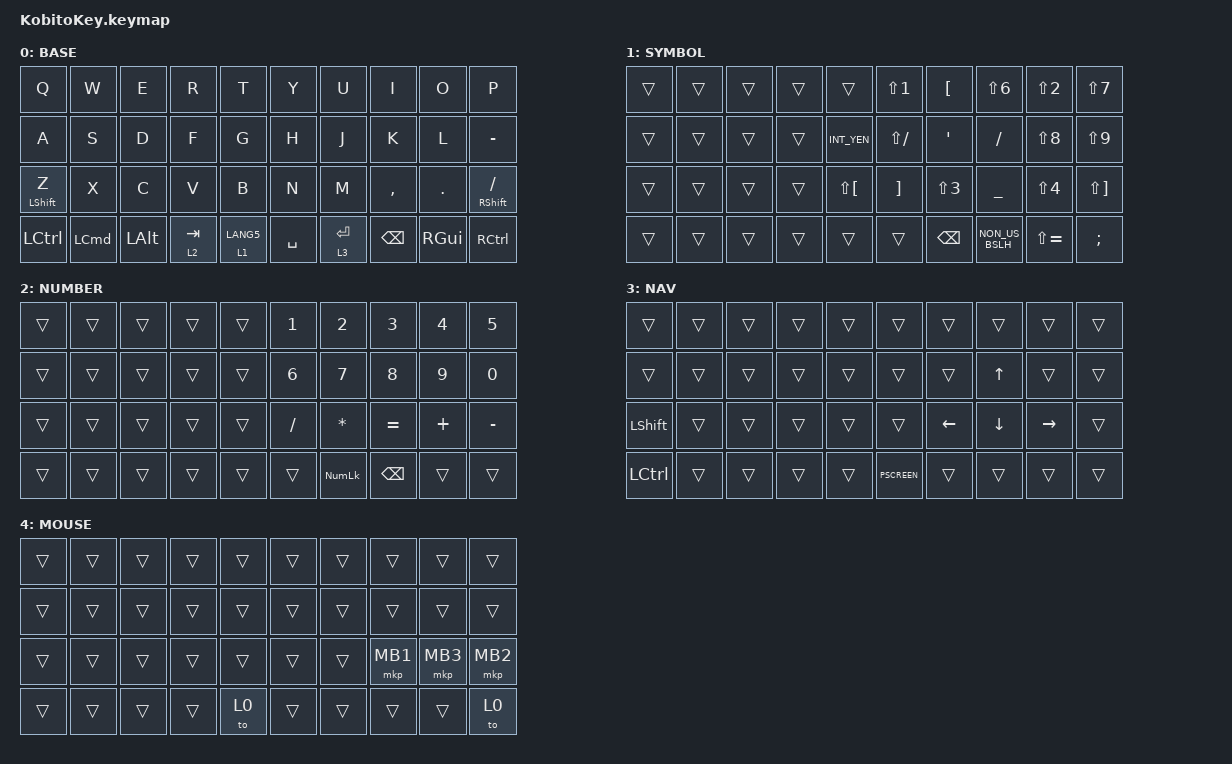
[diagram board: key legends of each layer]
#include <input/processors.dtsi>
#include <behaviors.dtsi>
#include <dt-bindings/zmk/bt.h>
#include <dt-bindings/zmk/keys.h>
#include <dt-bindings/zmk/pointing.h>

/ {
    combos {
        compatible = "zmk,combos";

        combo_eisu {
            timeout-ms = <50>;
            key-positions = <12 13>;
            bindings = <&kp LANG2>;
        };

        combo_kana {
            timeout-ms = <50>;
            key-positions = <16 17>;
            bindings = <&kp LANG1>;
        };

        combo_esc {
            timeout-ms = <50>;
            key-positions = <0 1>;
            bindings = <&kp ESC>;
        };

        combo_tab {
            timeout-ms = <50>;
            key-positions = <10 11>;
            bindings = <&kp TAB>;
        };
    };

    keymap {
        compatible = "zmk,keymap";

        layer0 {
            label = "BASE";
            bindings = <
&kp Q             &kp W         &kp E         &kp R         &kp T         &kp Y          &kp U          &kp I      &kp O        &kp P
&kp A             &kp S         &kp D         &kp F         &kp G         &kp H          &kp J          &kp K      &kp L        &kp MINUS
&mt LSHFT Z       &kp X         &kp C         &kp V         &kp B         &kp N          &kp M          &kp COMMA  &kp DOT      &mt RSHFT SLASH
&kp LCTRL         &kp LCMD      &kp LALT      &lt 2 TAB      &lt 1 LANG5     &kp SPACE      &lt 3 ENTER     &kp BSPC   &kp RGUI     &kp RCTRL
            >;
        };

        layer1 {
            label = "SYMBOL";
            bindings = <
&trans            &trans        &trans        &trans        &trans        &kp LS(N1)     &kp LBKT       &kp LS(N6) &kp LS(N2)   &kp LS(N7)
&trans            &trans        &trans        &trans        &kp INT_YEN   &kp LS(SLASH)  &kp APOS       &kp SLASH  &kp LS(N8)   &kp LS(N9)
&trans            &trans        &trans        &trans        &kp LS(LBKT)  &kp RBKT       &kp LS(N3)     &kp UNDER  &kp LS(N4)   &kp LS(RBKT)
&trans            &trans        &trans        &trans        &trans        &trans         &kp BSPC       &kp NON_US_BSLH &kp LS(EQUAL) &kp SEMI
            >;
        };

        layer2 {
            label = "NUMBER";
            bindings = <
&trans            &trans        &trans        &trans        &trans        &kp N1         &kp N2         &kp N3     &kp N4       &kp N5
&trans            &trans        &trans        &trans        &trans        &kp N6         &kp N7         &kp N8     &kp N9       &kp N0
&trans            &trans        &trans        &trans        &trans        &kp SLASH      &kp ASTRK      &kp EQUAL  &kp PLUS     &kp MINUS
&trans            &trans        &trans        &trans        &trans        &trans         &kp KP_NUMLOCK &kp BSPC   &trans       &trans
            >;
        };

        layer3 {
            label = "NAV";
            bindings = <
&trans            &trans        &trans        &trans        &trans        &trans         &trans         &trans     &trans       &trans
&trans            &trans        &trans        &trans        &trans        &trans         &trans         &kp UP     &trans       &trans
&kp LSHFT         &trans        &trans        &trans        &trans        &trans         &kp LEFT       &kp DOWN   &kp RIGHT    &trans
&kp LCTRL         &trans        &trans        &trans        &trans        &kp PSCREEN    &trans         &trans     &trans       &trans
            >;
        };

        layer4 {
            label = "MOUSE";
            bindings = <
&trans            &trans        &trans        &trans        &trans        &trans         &trans         &trans     &trans       &trans
&trans            &trans        &trans        &trans        &trans        &trans         &trans         &trans     &trans       &trans
&trans            &trans        &trans        &trans        &trans        &trans         &trans         &mkp MB1   &mkp MB3     &mkp MB2
&trans            &trans        &trans        &trans        &to 0         &trans         &trans         &trans     &trans       &to 0
            >;
        };
    };
};
